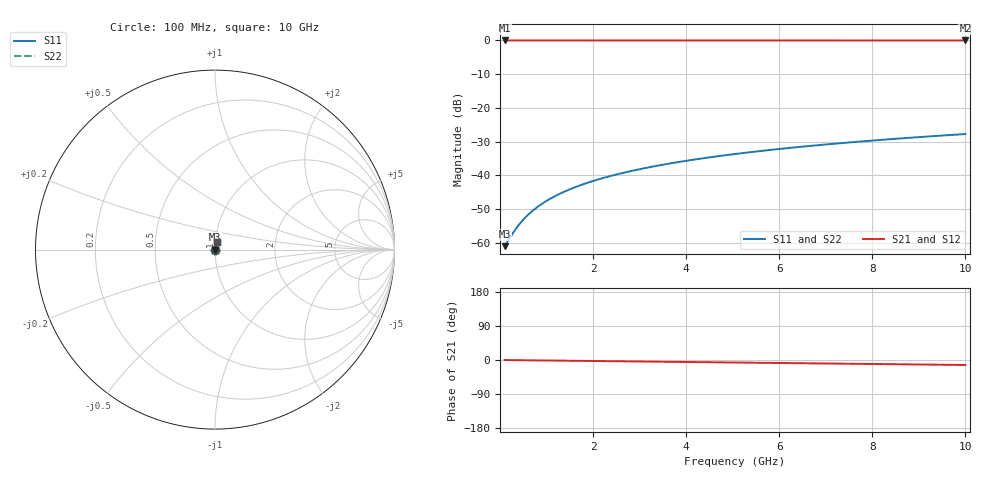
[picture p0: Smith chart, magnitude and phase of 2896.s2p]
# Hz S RI R 50.00
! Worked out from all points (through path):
!   100 points, 100 MHz to 10 GHz, reference 50 ohm
!   highest |S21| = -0.01 dB at 100 MHz (marker M1); lowest = 0.0 dB at 10 GHz (marker M2)
!   group delay of S21, straight-line fit = 3.66 ps
!   lowest |S11| = -60.9 dB at 100 MHz (marker M3), VSWR 1.00, Z = 50.1 + j0.0412 ohm
!   |S11| at or under -10 dB: start of sweep to end of sweep
!   |S22| runs from -60.9 to -27.7 dB; largest |S21 - S12| = 0
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1e8  0.000799 0.000411  0.9992 -0.00228  0.9992 -0.00228  0.000799 0.000411
3e8  0.000814 0.00123  0.9992 -0.00685  0.9992 -0.00685  0.000814 0.00123
4e8  0.000823 0.00164  0.9991 -0.00914  0.9991 -0.00914  0.000823 0.00164
5e8  0.000833 0.00205  0.9991 -0.0114  0.9991 -0.0114  0.000833 0.00205
6e8  0.000845 0.00246  0.9991 -0.0137  0.9991 -0.0137  0.000845 0.00246
7e8  0.000859 0.00287  0.999 -0.016  0.999 -0.016  0.000859 0.00287
8e8  0.000874 0.00329  0.999 -0.0183  0.999 -0.0183  0.000874 0.00329
1e9  0.00091 0.00411  0.9989 -0.0228  0.9989 -0.0228  0.00091 0.00411
1.2e9  0.000953 0.00493  0.9988 -0.0274  0.9988 -0.0274  0.000953 0.00493
1.5e9  0.00103 0.00616  0.9985 -0.0343  0.9985 -0.0343  0.00103 0.00616
1.8e9  0.00113 0.00738  0.9983 -0.0411  0.9983 -0.0411  0.00113 0.00738
2.1e9  0.00124 0.00861  0.9979 -0.048  0.9979 -0.048  0.00124 0.00861
2.5e9  0.00141 0.0102  0.9974 -0.0571  0.9974 -0.0571  0.00141 0.0102
2.9e9  0.00161 0.0119  0.9969 -0.0663  0.9969 -0.0663  0.00161 0.0119
3.4e9  0.00191 0.0139  0.996 -0.0777  0.996 -0.0777  0.00191 0.0139
4.2e9  0.00248 0.0171  0.9943 -0.096  0.9943 -0.096  0.00248 0.0171
5.1e9  0.00327 0.0207  0.992 -0.1165  0.992 -0.1165  0.00327 0.0207
5.9e9  0.00409 0.0239  0.9896 -0.1348  0.9896 -0.1348  0.00409 0.0239
6.7e9  0.00503 0.0271  0.9869 -0.153  0.9869 -0.153  0.00503 0.0271
7.5e9  0.0061 0.0302  0.9838 -0.1712  0.9838 -0.1712  0.0061 0.0302
8.4e9  0.00743 0.0337  0.9799 -0.1916  0.9799 -0.1916  0.00743 0.0337
1e10  0.0102 0.0398  0.9718 -0.2278  0.9718 -0.2278  0.0102 0.0398
